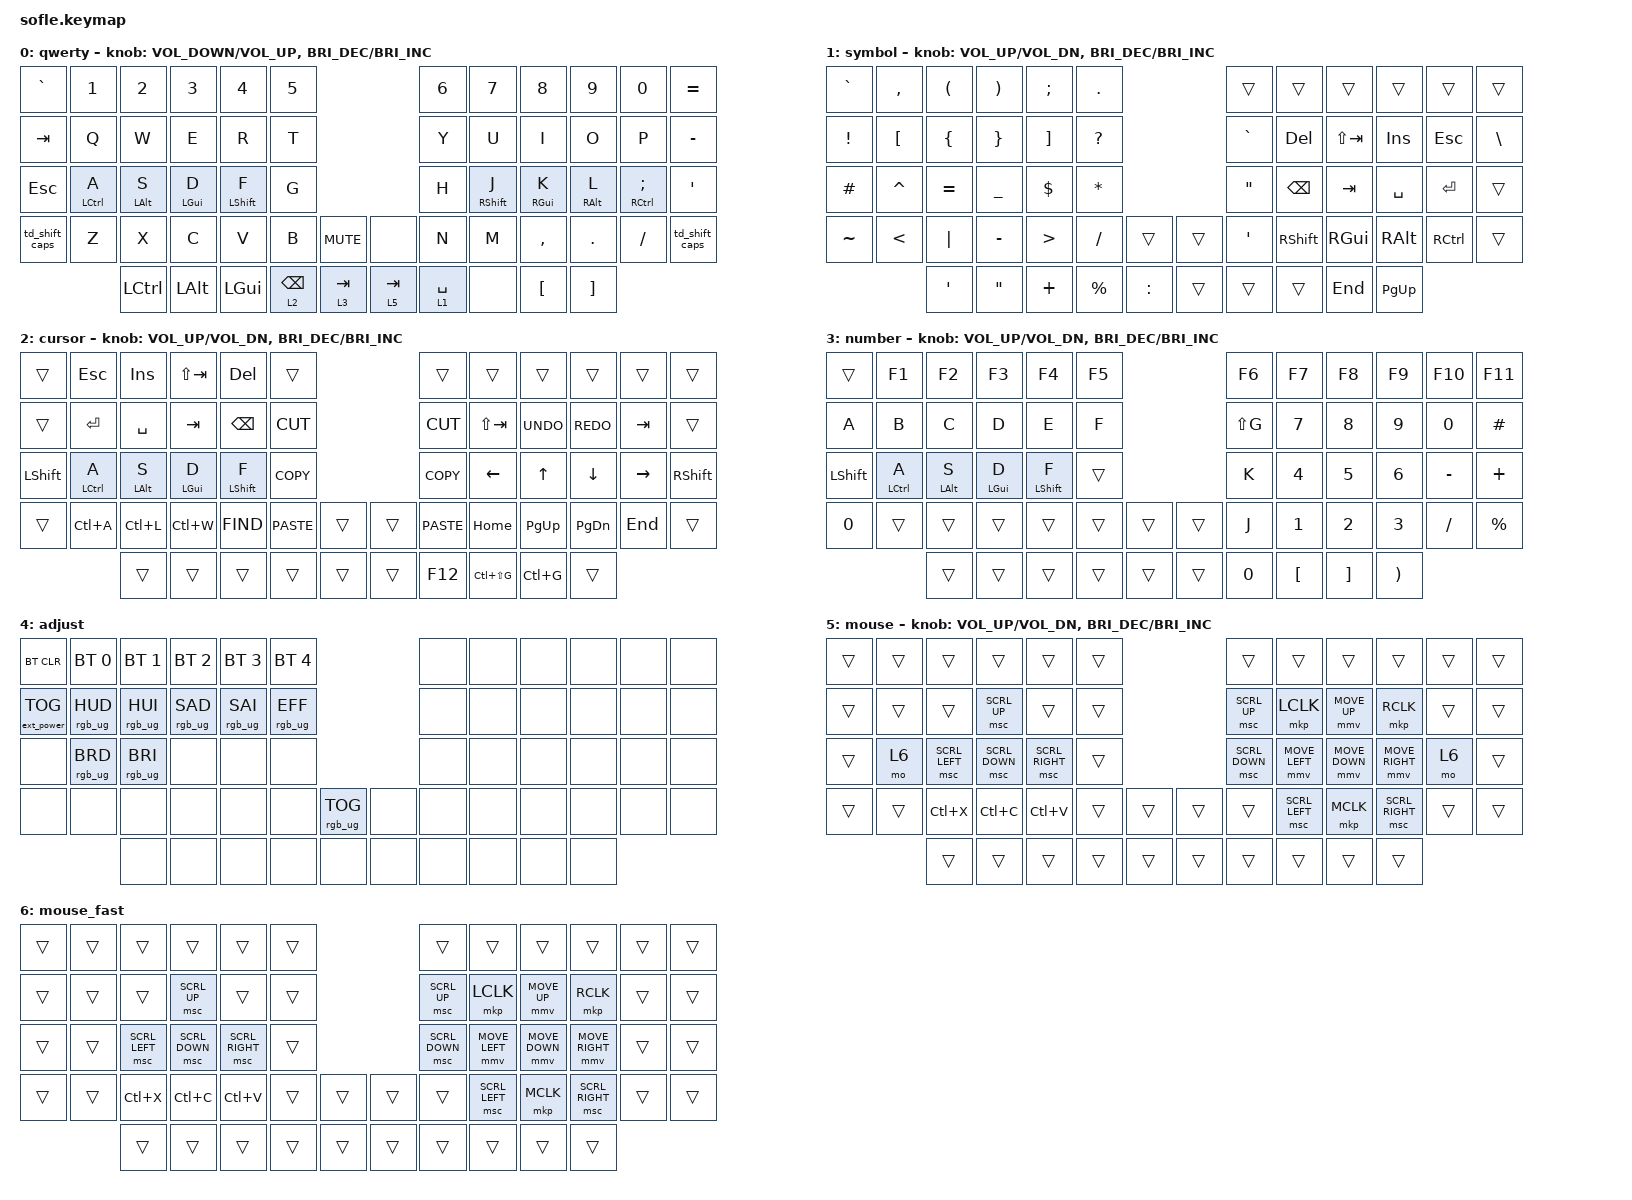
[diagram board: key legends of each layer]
/*
 * Copyright (c) 2020 The ZMK Contributors
 *
 * SPDX-License-Identifier: MIT
 */

#include <dt-bindings/zmk/mouse.h>
#include <zephyr/dt-bindings/input/input-event-codes.h>
#include <behaviors.dtsi>
#include <dt-bindings/zmk/bt.h>
#include <dt-bindings/zmk/ext_power.h>
#include <dt-bindings/zmk/keys.h>
#include <dt-bindings/zmk/pointing.h>
#include <dt-bindings/zmk/rgb.h>

#define BASE 0
#define LOWER 1
#define RAISE 2
#define NUMBER 3
#define ADJUST 4
#define MOUSE 5

// Mouse speed configuration (adapted from glove80)

#define MOUSE_MOTION_DELAY 0
#define MOUSE_MOTION_ACCELERATION_EXPONENT 1
#define MOUSE_MOTION_TIME_TO_MAXIMUM_SPEED 300
#define MOUSE_MOTION_MAXIMUM_SPEED 600
#define MOUSE_SCROLL_DELAY 0
#define MOUSE_SCROLL_ACCELERATION_EXPONENT 0
#define MOUSE_SCROLL_TIME_TO_MAXIMUM_SPEED 300
#define MOUSE_SCROLL_MAXIMUM_SPEED 30

// Mouse speed scaling factors

#define MOUSE_SCALER_FINE 1 16
#define MOUSE_SCALER_SLOW 1 4
#define MOUSE_SCALER_FAST 4 1
#define MOUSE_SCALER_WARP 12 1

/ {
    // Activate ADJUST layer by pressing raise and lower

    conditional_layers {
        compatible = "zmk,conditional-layers";

        adjust_layer {
            if-layers = <1 2>;
            then-layer = <4>;
        };
    };

    combos {
        compatible = "zmk,combos";

        // Left bootloader combo: 3 + 4 + 5

        combo_bootloader_left {
            timeout-ms = <1000>;
            key-positions = <3 4 5>;
            bindings = <&bootloader>;
        };

        // Right bootloader combo: 6 + 7 + 8

        combo_bootloader_right {
            timeout-ms = <1000>;
            key-positions = <6 7 8>;
            bindings = <&bootloader>;
        };

        // Bluetooth combos: Z + B + number (all on left half)
        // Z = 37, B = 41, ` = 0, 1-5 = 1-5

        combo_bt_clear {
            timeout-ms = <300>;
            key-positions = <37 41 0>;
            bindings = <&bt BT_CLR>;
        };

        combo_bt_sel_0 {
            timeout-ms = <300>;
            key-positions = <37 41 1>;
            bindings = <&bt BT_SEL 0>;
        };

        combo_bt_sel_1 {
            timeout-ms = <300>;
            key-positions = <37 41 2>;
            bindings = <&bt BT_SEL 1>;
        };

        combo_bt_sel_2 {
            timeout-ms = <300>;
            key-positions = <37 41 3>;
            bindings = <&bt BT_SEL 2>;
        };

        combo_bt_sel_3 {
            timeout-ms = <300>;
            key-positions = <37 41 4>;
            bindings = <&bt BT_SEL 3>;
        };

        combo_bt_sel_4 {
            timeout-ms = <300>;
            key-positions = <37 41 5>;
            bindings = <&bt BT_SEL 4>;
        };
    };

    behaviors {
        // Custom layer-tap with quick-tap for auto-repeat
        // Allows tap-then-hold to bypass layer and enable auto-repeat

        lt_repeat: layer_tap_with_repeat {
            compatible = "zmk,behavior-hold-tap";
            #binding-cells = <2>;
            flavor = "balanced";  // Wait for next key before deciding tap vs hold
            tapping-term-ms = <200>;
            quick-tap-ms = <200>;  // Enable tap-then-hold repeat
            bindings = <&mo>, <&kp>;

            hold-while-undecided;  // Activate layer immediately for OLED and conditional layers
        };

        // Bilateral home row mods - uniform timing (working config)
        // Balanced flavor: wait for next key before deciding tap vs hold

        #define HML_KEYS 6 7 8 9 10 11 18 19 20 21 22 23 30 31 32 33 34 35 42 43 44 45 46 47 48 49 50 51 52 53 54 55 56 57
        #define HMR_KEYS 0 1 2 3 4 5 12 13 14 15 16 17 24 25 26 27 28 29 36 37 38 39 40 41 48 49 50 51 52 53 54 55 56 57

        // Left pinky: A = Ctrl
        hml_a: homerow_mod_left_a {
            compatible = "zmk,behavior-hold-tap";
            #binding-cells = <2>;
            flavor = "balanced";
            tapping-term-ms = <280>;
            quick-tap-ms = <175>;
            require-prior-idle-ms = <75>;
            bindings = <&kp>, <&kp>;
            hold-trigger-key-positions = <HML_KEYS>;
            hold-trigger-on-release;
        };

        // Left ring: S = Alt
        hml_s: homerow_mod_left_s {
            compatible = "zmk,behavior-hold-tap";
            #binding-cells = <2>;
            flavor = "balanced";
            tapping-term-ms = <280>;
            quick-tap-ms = <175>;
            require-prior-idle-ms = <75>;
            bindings = <&kp>, <&kp>;
            hold-trigger-key-positions = <HML_KEYS>;
            hold-trigger-on-release;
        };

        // Left middle: D = GUI
        hml_d: homerow_mod_left_d {
            compatible = "zmk,behavior-hold-tap";
            #binding-cells = <2>;
            flavor = "balanced";
            tapping-term-ms = <280>;
            quick-tap-ms = <175>;
            require-prior-idle-ms = <75>;
            bindings = <&kp>, <&kp>;
            hold-trigger-key-positions = <HML_KEYS>;
            hold-trigger-on-release;
        };

        // Left index: F = Shift (50ms idle for fast Shift+key)
        hml_f: homerow_mod_left_f {
            compatible = "zmk,behavior-hold-tap";
            #binding-cells = <2>;
            flavor = "balanced";
            tapping-term-ms = <280>;
            quick-tap-ms = <175>;
            require-prior-idle-ms = <50>;
            bindings = <&kp>, <&kp>;
            hold-trigger-key-positions = <HML_KEYS>;
            hold-trigger-on-release;
        };

        // Right index: J = Shift (50ms idle for fast Shift+key)
        hmr_j: homerow_mod_right_j {
            compatible = "zmk,behavior-hold-tap";
            #binding-cells = <2>;
            flavor = "balanced";
            tapping-term-ms = <280>;
            quick-tap-ms = <175>;
            require-prior-idle-ms = <50>;
            bindings = <&kp>, <&kp>;
            hold-trigger-key-positions = <HMR_KEYS>;
            hold-trigger-on-release;
        };

        // Right middle: K = GUI
        hmr_k: homerow_mod_right_k {
            compatible = "zmk,behavior-hold-tap";
            #binding-cells = <2>;
            flavor = "balanced";
            tapping-term-ms = <280>;
            quick-tap-ms = <175>;
            require-prior-idle-ms = <75>;
            bindings = <&kp>, <&kp>;
            hold-trigger-key-positions = <HMR_KEYS>;
            hold-trigger-on-release;
        };

        // Right ring: L = Alt
        hmr_l: homerow_mod_right_l {
            compatible = "zmk,behavior-hold-tap";
            #binding-cells = <2>;
            flavor = "balanced";
            tapping-term-ms = <280>;
            quick-tap-ms = <175>;
            require-prior-idle-ms = <75>;
            bindings = <&kp>, <&kp>;
            hold-trigger-key-positions = <HMR_KEYS>;
            hold-trigger-on-release;
        };

        // Right pinky: ; = Ctrl
        hmr_semi: homerow_mod_right_semi {
            compatible = "zmk,behavior-hold-tap";
            #binding-cells = <2>;
            flavor = "balanced";
            tapping-term-ms = <300>;
            quick-tap-ms = <175>;
            require-prior-idle-ms = <75>;
            bindings = <&kp>, <&kp>;
            hold-trigger-key-positions = <HMR_KEYS>;
            hold-trigger-on-release;
        };

        // Tap-dance: single tap = sticky shift, double tap = caps_word
        td_shift_caps: tap_dance_shift_caps {
            compatible = "zmk,behavior-tap-dance";
            #binding-cells = <0>;
            tapping-term-ms = <200>;
            bindings = <&sk LSHFT>, <&caps_word>;
        };

    };

    keymap {
        compatible = "zmk,keymap";

        default_layer {
            label = "qwerty";

            // ------------------------------------------------------------------------------------------------------------
            // |   `   |  1  |  2  |  3   |  4   |  5   |                   |  6   |  7    |  8    |  9   |   0   |       |
            // |  ESC  |  Q  |  W  |  E   |  R   |  T   |                   |  Y   |  U    |  I    |  O   |   P   | BKSPC |
            // |  TAB  |CTL/A|ALT/S| GUI/D|SHF/F |  G   |                   |  H   |SHF/J | GUI/K |ALT/L |CTL/; |   '   |
            // | SHIFT |  Z  |  X  |  C   |  V   |  B   |  MUTE  |  |       |  N   |  M    |  ,    |  .   |   /   | SHIFT |
            //               | GUI | ALT  | CTRL | LOWER|  ENTER |  | SPACE | RAISE| CTRL  | ALT   | GUI  |

            bindings = <
&kp GRAVE       &kp N1          &kp N2         &kp N3         &kp N4          &kp N5                                                        &kp N6              &kp N7          &kp N8          &kp N9          &kp N0             &kp EQUAL
&kp TAB         &kp Q           &kp W          &kp E          &kp R           &kp T                                                         &kp Y               &kp U           &kp I           &kp O           &kp P              &kp MINUS
&kp ESCAPE      &hml_a LCTRL A  &hml_s LALT S  &hml_d LGUI D  &hml_f LSHFT F  &kp G                                                         &kp H               &hmr_j RSHFT J  &hmr_k RGUI K   &hmr_l RALT L   &hmr_semi RCTRL SEMI  &kp SQT
&td_shift_caps  &kp Z        &kp X       &kp C       &kp V        &kp B                   &kp C_MUTE          &none             &kp N               &kp M        &kp COMMA         &kp DOT            &kp FSLH        &td_shift_caps
                         &kp LCTRL   &kp LALT    &kp LGUI     &lt_repeat 2 BACKSPACE  &lt_repeat 3 TAB    &lt_repeat 5 TAB  &lt_repeat 1 SPACE  &none        &kp LEFT_BRACKET  &kp RIGHT_BRACKET
            >;

            sensor-bindings =
                <&inc_dec_kp C_VOLUME_DOWN C_VOLUME_UP>,
                <&inc_dec_kp C_BRI_DEC C_BRI_INC>;
        };

        lower_layer {
            label = "symbol";

            // SYMBOL LAYER - Programming Symbols (adapted from glove80)
            // ------------------------------------------------------------------------------------------------------------
            // |   `   |  ,   |  (   |  )   |  ;   |  .   |                   |      |      |       |      |       |       |
            // |   !   |  [   |  {   |  }   |  ]   |  ?   |                   |  `   | DEL  | S-TAB | INS  |  ESC  |   \   |
            // |   #   |  ^   |  =   |  _   |  $   |  *   |                   |  "   | BSPC |  TAB  | SPC  | ENTER |       |
            // |   ~   |  <   |  |   |  -   |  >   |  /   |       |   |       |  '   | SHFT | GUI   | ALT  |  CTL  |       |
            //                |  '   |  "   |  +   |  %   |   :   |   |       |      |      |  END  | PGUP |

            bindings = <
&kp GRAVE  &kp COMMA  &kp LPAR   &kp RPAR   &kp SEMI  &kp DOT                               &trans     &trans     &trans       &trans    &trans     &trans
&kp EXCL   &kp LBKT   &kp LBRC   &kp RBRC   &kp RBKT  &kp QMARK                             &kp GRAVE  &kp DEL    &kp LS(TAB)  &kp INS   &kp ESC    &kp BSLH
&kp HASH   &kp CARET  &kp EQUAL  &kp UNDER  &kp DLLR  &kp ASTRK                             &kp DQT    &kp BSPC   &kp TAB      &kp SPACE &kp ENTER  &trans
&kp TILDE  &kp LT     &kp PIPE   &kp MINUS  &kp GT    &kp FSLH   &trans         &trans      &kp SQT    &kp RSHFT  &kp RGUI     &kp RALT  &kp RCTRL  &trans
                      &kp SQT    &kp DQT    &kp PLUS  &kp PRCNT  &kp COLON    &trans     &trans     &trans     &kp END   &kp PG_UP
            >;

            sensor-bindings = <&inc_dec_kp C_VOL_UP C_VOL_DN &inc_dec_kp C_BRI_DEC C_BRI_INC>;
        };

        raise_layer {
            label = "cursor";

            // CURSOR LAYER - Navigation and Editing with Home Row Mods
            // ------------------------------------------------------------------------------------------------------------
            // |       |  ESC |  INS | S-TAB|  DEL |      |                   |      |      |       |      |       |       |
            // |       |  RET | SPACE|  TAB | BSPC | CUT  |                   | CUT  |S-TAB | UNDO  | REDO |  TAB  |       |
            // | SHIFT |CTL/A |ALT/S |GUI/D |SHF/F | COPY |                   | COPY | LEFT |  UP   | DOWN | RIGHT | SHIFT |
            // |       |SEL_AL|SEL_LN|SEL_WD| FIND |PASTE |      |  |       | PASTE| HOME | PGUP  | PGDN |  END  |       |
            //                |      |      |      |      |      |  |       | FIND |FND_PR|FND_NX |      |

            bindings = <
&trans     &kp ESC       &kp INS      &kp LS(TAB)  &kp DEL       &trans                         &trans       &trans         &trans      &trans      &trans     &trans
&trans     &kp RET       &kp SPACE    &kp TAB      &kp BSPC      &kp K_CUT                      &kp K_CUT    &kp LS(TAB)    &kp K_UNDO  &kp K_REDO  &kp TAB    &trans
&kp LSHFT  &hml_a LCTRL A  &hml_s LALT S  &hml_d LGUI D  &hml_f LSHFT F  &kp K_COPY                     &kp K_COPY   &kp LEFT       &kp UP      &kp DOWN    &kp RIGHT  &kp RSHFT
&trans     &kp LC(A)    &kp LC(L)   &kp LC(W)    &kp K_FIND   &kp K_PASTE  &trans    &trans  &kp K_PASTE  &kp HOME       &kp PG_UP   &kp PG_DN   &kp END    &trans
                        &trans      &trans       &trans       &trans       &trans    &trans  &kp F12      &kp LC(LS(G))  &kp LC(G)   &trans
            >;

            sensor-bindings = <&inc_dec_kp C_VOL_UP C_VOL_DN &inc_dec_kp C_BRI_DEC C_BRI_INC>;
        };

        number_layer {
            label = "number";

            // NUMBER LAYER - Numpad and Function Keys with Home Row Mods
            // ------------------------------------------------------------------------------------------------------------
            // |       |  F1  |  F2  |  F3  |  F4  | F5   |                   | F6  |  F7  |  F8   |  F9  |  F10  |   F11  |
            // |   A   |  B   |  C   |  D   |  E   |  F   |                   |  G   |  7   |   8   |  9   |   0   |   #   |
            // | SHIFT |CTL/A |ALT/S |GUI/D |SHF/F | HEX  |                   |  K   |  4   |   5   |  6   |   -   |   +   |
            // |  F10  |      |      |      |      |      |      |  |       |   J  |  1   |   2   |  3   |   /   |   %   |
            //                |      |      |      |      |      |  |   0   |   (  |  [   |   ]   |  )   |

            bindings = <
&trans     &kp F1        &kp F2       &kp F3       &kp F4        &kp F5                    &kp F6  &kp F7    &kp F8    &kp F9    &kp F10    &kp F11
&kp A      &kp B         &kp C        &kp D        &kp E         &kp F                     &kp LS(G)   &kp N7    &kp N8    &kp N9    &kp N0     &kp HASH
&kp LSHFT  &hml_a LCTRL A  &hml_s LALT S  &hml_d LGUI D  &hml_f LSHFT F  &trans                    &kp K   &kp N4    &kp N5    &kp N6    &kp MINUS  &kp PLUS
&kp N0     &trans       &trans      &trans      &trans       &trans  &trans    &trans  &kp J   &kp N1    &kp N2    &kp N3    &kp FSLH   &kp PRCNT
                        &trans      &trans      &trans       &trans  &trans    &trans  &kp N0  &kp LBKT  &kp RBKT  &kp RPAR
            >;

            sensor-bindings = <&inc_dec_kp C_VOL_UP C_VOL_DN &inc_dec_kp C_BRI_DEC C_BRI_INC>;
        };

        adjust_layer {
            // ----------------------------------------------------------------------------------------------------------------------------
            // | BTCLR  |  BT1    |  BT2    |   BT3   |   BT4   |   BT5   |                  |      |      |       |      |       |       |
            // | EXTPWR | RGB_HUD | RGB_HUI | RGB_SAD | RGB_SAI | RGB_EFF |                  |      |      |       |      |       |       |
            // |        | RGB_BRD | RGB_BRI |         |         |         |                  |      |      |       |      |       |       |
            // |        |         |         |         |         |         | RGB_TOG | |      |      |      |       |      |       |       |
            //                    |         |         |         |         |         | |      |      |      |       |      |

            label = "adjust";
            bindings = <
&bt BT_CLR         &bt BT_SEL 0     &bt BT_SEL 1     &bt BT_SEL 2     &bt BT_SEL 3     &bt BT_SEL 4                               &none  &none  &none  &none  &none  &none
&ext_power EP_TOG  &rgb_ug RGB_HUD  &rgb_ug RGB_HUI  &rgb_ug RGB_SAD  &rgb_ug RGB_SAI  &rgb_ug RGB_EFF                            &none  &none  &none  &none  &none  &none
&none              &rgb_ug RGB_BRD  &rgb_ug RGB_BRI  &none            &none            &none                                      &none  &none  &none  &none  &none  &none
&none              &none            &none            &none            &none            &none            &rgb_ug RGB_TOG    &none  &none  &none  &none  &none  &none  &none
                                    &none            &none            &none            &none            &none              &none  &none  &none  &none  &none
            >;
        };

        mouse_layer {
            label = "mouse";

            // MOUSE LAYER - Right hand: Y/H scroll, JIKL movement, U/O clicks
            // Left hand: ASDF scroll (mirror), XCV cut/copy/paste, A for FAST
            // ------------------------------------------------------------------------------------------------------------
            // |       |      |      |      |      |      |                   |       |SCR_U |       |      |       |       |
            // |       |      |      | SCR_U|      |      |                   |SCR_D  | LMB  | M_UP  | RMB  |       |       |
            // |       | FAST | SCR_L| SCR_D| SCR_R|      |                   |       | M_LT | M_DN  | M_RT | FAST  |       |
            // |       |      | CUT  | COPY |PASTE |      |       |  |       |       | SCR_L| MMB   | SCR_R|       |       |
            //                |      |      |      |      |       |  |       |       |      |       |      |

            bindings = <
&trans  &trans  &trans          &trans          &trans           &trans                          &trans          &trans          &trans          &trans           &trans  &trans
&trans  &trans  &trans          &msc SCRL_UP    &trans           &trans                          &msc SCRL_UP    &mkp LCLK       &mmv MOVE_UP    &mkp RCLK        &trans  &trans
&trans  &mo 6   &msc SCRL_LEFT  &msc SCRL_DOWN  &msc SCRL_RIGHT  &trans                          &msc SCRL_DOWN  &mmv MOVE_LEFT  &mmv MOVE_DOWN  &mmv MOVE_RIGHT  &mo 6   &trans
&trans  &trans  &kp LC(X)       &kp LC(C)       &kp LC(V)        &trans          &trans  &trans  &trans          &msc SCRL_LEFT  &mkp MCLK       &msc SCRL_RIGHT  &trans  &trans
                &trans          &trans          &trans           &trans          &trans  &trans  &trans          &trans          &trans          &trans
            >;

            sensor-bindings = <&inc_dec_kp C_VOL_UP C_VOL_DN &inc_dec_kp C_BRI_DEC C_BRI_INC>;
        };

        mouse_fast_layer {
            label = "mouse_fast";

            // FAST SPEED (Layer 6) - Fast mouse movement (4x speed)
            // Activated only while holding FAST key on mouse layer

            bindings = <
&trans  &trans  &trans          &trans          &trans           &trans                          &trans          &trans          &trans          &trans           &trans  &trans
&trans  &trans  &trans          &msc SCRL_UP    &trans           &trans                          &msc SCRL_UP    &mkp LCLK       &mmv MOVE_UP    &mkp RCLK        &trans  &trans
&trans  &trans  &msc SCRL_LEFT  &msc SCRL_DOWN  &msc SCRL_RIGHT  &trans                          &msc SCRL_DOWN  &mmv MOVE_LEFT  &mmv MOVE_DOWN  &mmv MOVE_RIGHT  &trans  &trans
&trans  &trans  &kp LC(X)       &kp LC(C)       &kp LC(V)        &trans          &trans  &trans  &trans          &msc SCRL_LEFT  &mkp MCLK       &msc SCRL_RIGHT  &trans  &trans
                &trans          &trans          &trans           &trans          &trans  &trans  &trans          &trans          &trans          &trans
            >;
        };
    };
};

// Mouse behavior configuration (outside main keymap)

&mmv {
    delay-ms = <MOUSE_MOTION_DELAY>;
    acceleration-exponent = <MOUSE_MOTION_ACCELERATION_EXPONENT>;
    time-to-max-speed-ms = <MOUSE_MOTION_TIME_TO_MAXIMUM_SPEED>;
};

&msc {
    delay-ms = <MOUSE_SCROLL_DELAY>;
    acceleration-exponent = <MOUSE_SCROLL_ACCELERATION_EXPONENT>;
    time-to-max-speed-ms = <MOUSE_SCROLL_TIME_TO_MAXIMUM_SPEED>;
};

// Input processors for mouse speed scaling

/ {
    input_processors {
        zip_xy_scaler: zip_xy_scaler {
            compatible = "zmk,input-processor-scaler";
            #input-processor-cells = <2>;
            type = <INPUT_EV_REL>;
            codes = <INPUT_REL_X INPUT_REL_Y>;
            track-remainders;
        };
    };
};

// Configure input listener for fast speed layer

&mmv_input_listener {
    fast {
        layers = <6>;
        input-processors = <&zip_xy_scaler MOUSE_SCALER_FAST>;
    };
};
